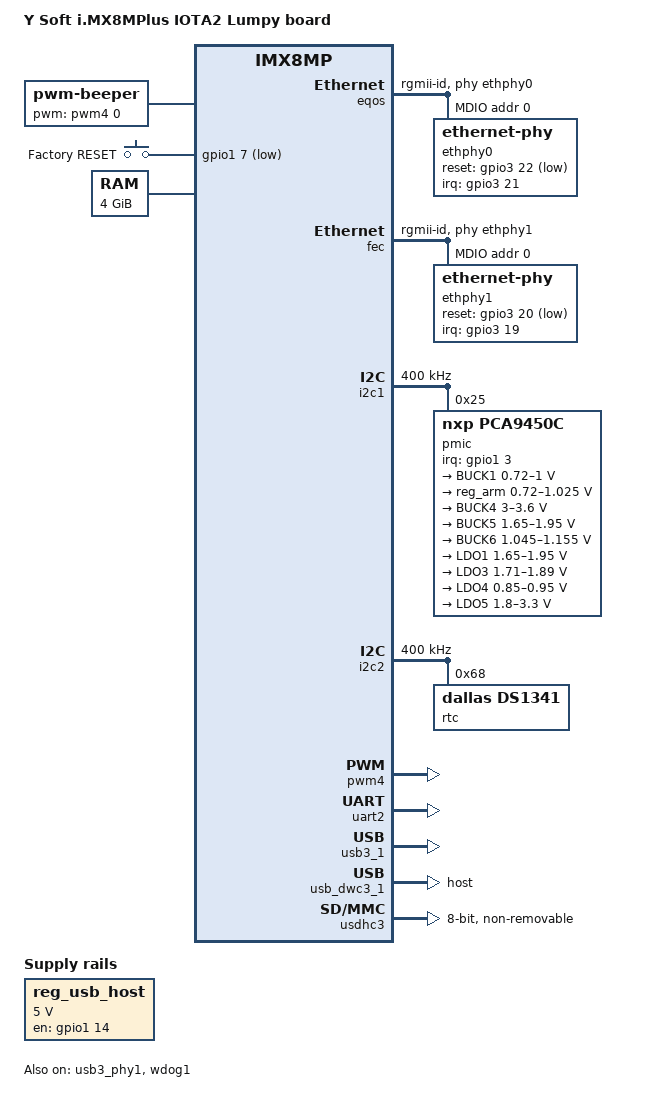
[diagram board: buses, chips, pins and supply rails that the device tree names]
// SPDX-License-Identifier: (GPL-2.0+ OR MIT)
/*
 * Copyright 2023 Y Soft
 */

/dts-v1/;

#include "imx8mp.dtsi"

/ {
	model = "Y Soft i.MX8MPlus IOTA2 Lumpy board";
	compatible = "ysoft,imx8mp-iota2-lumpy", "fsl,imx8mp";

	chosen {
		stdout-path = &uart2;
	};

	beeper {
		compatible = "pwm-beeper";
		pwms = <&pwm4 0 500000 0>;
	};

	gpio_keys: gpio-keys {
		compatible = "gpio-keys";
		pinctrl-names = "default";
		pinctrl-0 = <&pinctrl_gpio_keys>;

		button-reset {
			label = "Factory RESET";
			linux,code = <BTN_0>;
			gpios = <&gpio1 7 GPIO_ACTIVE_LOW>;
		};
	};

	memory@40000000 {
		device_type = "memory";
		reg = <0x0 0x40000000 0 0x80000000>,
		      <0x1 0x00000000 0 0x80000000>;
	};

	reg_usb_host: regulator-usb-host {
		compatible = "regulator-fixed";
		enable-active-high;
		gpio = <&gpio1 14 GPIO_ACTIVE_HIGH>;
		pinctrl-names = "default";
		pinctrl-0 = <&pinctrl_usb_host_vbus>;
		regulator-max-microvolt = <5000000>;
		regulator-min-microvolt = <5000000>;
		regulator-name = "usb-host";
	};
};

&A53_0 {
	cpu-supply = <&reg_arm>;
};

&A53_1 {
	cpu-supply = <&reg_arm>;
};

&A53_2 {
	cpu-supply = <&reg_arm>;
};

&A53_3 {
	cpu-supply = <&reg_arm>;
};

&eqos {
	pinctrl-names = "default";
	pinctrl-0 = <&pinctrl_eqos>;
	phy-mode = "rgmii-id";
	phy-handle = <&ethphy0>;
	status = "okay";

	mdio {
		compatible = "snps,dwmac-mdio";
		#address-cells = <1>;
		#size-cells = <0>;

		ethphy0: ethernet-phy@0 {
			pinctrl-0 = <&pinctrl_ethphy0>;
			pinctrl-names = "default";
			reg = <0>;
			interrupt-parent = <&gpio3>;
			interrupts = <21 IRQ_TYPE_LEVEL_LOW>;
			micrel,led-mode = <0>;
			reset-gpios = <&gpio3 22 GPIO_ACTIVE_LOW>;
			reset-assert-us = <1000>;
			reset-deassert-us = <1000>;
		};
	};
};

&fec {
	pinctrl-names = "default";
	pinctrl-0 = <&pinctrl_fec>;
	phy-mode = "rgmii-id";
	phy-handle = <&ethphy1>;
	fsl,magic-packet;
	status = "okay";

	mdio {
		#address-cells = <1>;
		#size-cells = <0>;

		ethphy1: ethernet-phy@0 {
			pinctrl-0 = <&pinctrl_ethphy1>;
			pinctrl-names = "default";
			reg = <0>;
			interrupt-parent = <&gpio3>;
			interrupts = <19 IRQ_TYPE_LEVEL_LOW>;
			micrel,led-mode = <0>;
			reset-gpios = <&gpio3 20 GPIO_ACTIVE_LOW>;
			reset-assert-us = <1000>;
			reset-deassert-us = <1000>;
		};
	};
};

&i2c1 {
	clock-frequency = <400000>;
	pinctrl-names = "default";
	pinctrl-0 = <&pinctrl_i2c1>;
	status = "okay";

	pmic@25 {
		compatible = "nxp,pca9450c";
		reg = <0x25>;
		pinctrl-names = "default";
		pinctrl-0 = <&pinctrl_pmic>;
		interrupt-parent = <&gpio1>;
		interrupts = <3 IRQ_TYPE_LEVEL_LOW>;

		regulators {
			BUCK1 {
				regulator-name = "BUCK1";
				regulator-min-microvolt = <720000>;
				regulator-max-microvolt = <1000000>;
				regulator-boot-on;
				regulator-always-on;
				regulator-ramp-delay = <3125>;
			};

			reg_arm: BUCK2 {
				regulator-name = "BUCK2";
				regulator-min-microvolt = <720000>;
				regulator-max-microvolt = <1025000>;
				regulator-boot-on;
				regulator-always-on;
				regulator-ramp-delay = <3125>;
				nxp,dvs-run-voltage = <950000>;
				nxp,dvs-standby-voltage = <850000>;
			};

			BUCK4 {
				regulator-name = "BUCK4";
				regulator-min-microvolt = <3000000>;
				regulator-max-microvolt = <3600000>;
				regulator-boot-on;
				regulator-always-on;
			};

			BUCK5 {
				regulator-name = "BUCK5";
				regulator-min-microvolt = <1650000>;
				regulator-max-microvolt = <1950000>;
				regulator-boot-on;
				regulator-always-on;
			};

			BUCK6 {
				regulator-name = "BUCK6";
				regulator-min-microvolt = <1045000>;
				regulator-max-microvolt = <1155000>;
				regulator-boot-on;
				regulator-always-on;
			};

			LDO1 {
				regulator-name = "LDO1";
				regulator-min-microvolt = <1650000>;
				regulator-max-microvolt = <1950000>;
				regulator-boot-on;
				regulator-always-on;
			};

			LDO3 {
				regulator-name = "LDO3";
				regulator-min-microvolt = <1710000>;
				regulator-max-microvolt = <1890000>;
				regulator-boot-on;
				regulator-always-on;
			};

			LDO4 {
				regulator-name = "LDO4";
				regulator-min-microvolt = <850000>;
				regulator-max-microvolt = <950000>;
				regulator-boot-on;
				regulator-always-on;
			};

			LDO5 {
				regulator-name = "LDO5";
				regulator-min-microvolt = <1800000>;
				regulator-max-microvolt = <3300000>;
				regulator-boot-on;
				regulator-always-on;
			};
		};
	};
};

&i2c2 {
	clock-frequency = <400000>;
	pinctrl-names = "default";
	pinctrl-0 = <&pinctrl_i2c2>;
	status = "okay";

	rtc: rtc@68 {
		compatible = "dallas,ds1341";
		reg = <0x68>;
	};
};

&pwm4 {
	pinctrl-names = "default";
	pinctrl-0 = <&pinctrl_pwm4>;
	pwm-gpios = <&gpio5 2 GPIO_ACTIVE_HIGH>;
	status = "okay";
};

&uart2 {
	pinctrl-names = "default";
	pinctrl-0 = <&pinctrl_uart2>;
	status = "okay";
};

&usb3_phy1 {
	vbus-supply = <&reg_usb_host>;
	status = "okay";
};

&usb3_1 {
	status = "okay";
};

&usb_dwc3_1 {
	pinctrl-names = "default";
	dr_mode = "host";
	status = "okay";
};

&usdhc3 {
	assigned-clocks = <&clk IMX8MP_CLK_USDHC3>;
	assigned-clock-rates = <400000000>;
	pinctrl-names = "default", "state_100mhz", "state_200mhz";
	pinctrl-0 = <&pinctrl_usdhc3>;
	pinctrl-1 = <&pinctrl_usdhc3_100mhz>;
	pinctrl-2 = <&pinctrl_usdhc3_200mhz>;
	bus-width = <8>;
	non-removable;
	status = "okay";
};

&wdog1 {
	pinctrl-names = "default";
	pinctrl-0 = <&pinctrl_wdog>;
	fsl,ext-reset-output;
	status = "okay";
};

&iomuxc {
	pinctrl_eqos: eqosgrp {
		fsl,pins = <
			MX8MP_IOMUXC_ENET_MDC__ENET_QOS_MDC		0x2
			MX8MP_IOMUXC_ENET_MDIO__ENET_QOS_MDIO		0x2
			MX8MP_IOMUXC_ENET_RD0__ENET_QOS_RGMII_RD0	0x90
			MX8MP_IOMUXC_ENET_RD1__ENET_QOS_RGMII_RD1	0x90
			MX8MP_IOMUXC_ENET_RD2__ENET_QOS_RGMII_RD2	0x90
			MX8MP_IOMUXC_ENET_RD3__ENET_QOS_RGMII_RD3	0x90
			MX8MP_IOMUXC_ENET_RX_CTL__ENET_QOS_RGMII_RX_CTL	0x90
			MX8MP_IOMUXC_ENET_RXC__CCM_ENET_QOS_CLOCK_GENERATE_RX_CLK	0x90
			MX8MP_IOMUXC_ENET_TD0__ENET_QOS_RGMII_TD0	0x16
			MX8MP_IOMUXC_ENET_TD1__ENET_QOS_RGMII_TD1	0x16
			MX8MP_IOMUXC_ENET_TD2__ENET_QOS_RGMII_TD2	0x16
			MX8MP_IOMUXC_ENET_TD3__ENET_QOS_RGMII_TD3	0x16
			MX8MP_IOMUXC_ENET_TX_CTL__ENET_QOS_RGMII_TX_CTL	0x16
			MX8MP_IOMUXC_ENET_TXC__CCM_ENET_QOS_CLOCK_GENERATE_TX_CLK	0x16
		>;
	};

	pinctrl_ethphy0: ethphy0grp {
		fsl,pins = <
			MX8MP_IOMUXC_SAI5_RXD0__GPIO3_IO21		0x10
			MX8MP_IOMUXC_SAI5_RXD1__GPIO3_IO22		0x10
		>;
	};

	pinctrl_ethphy1: ethphy1grp {
		fsl,pins = <
			MX8MP_IOMUXC_SAI5_RXFS__GPIO3_IO19		0x10
			MX8MP_IOMUXC_SAI5_RXC__GPIO3_IO20		0x10
		>;
	};

	pinctrl_fec: fecgrp {
		fsl,pins = <
			MX8MP_IOMUXC_SAI1_RXD2__ENET1_MDC		0x2
			MX8MP_IOMUXC_SAI1_RXD3__ENET1_MDIO		0x2
			MX8MP_IOMUXC_SAI1_RXD4__ENET1_RGMII_RD0		0x90
			MX8MP_IOMUXC_SAI1_RXD5__ENET1_RGMII_RD1		0x90
			MX8MP_IOMUXC_SAI1_RXD6__ENET1_RGMII_RD2		0x90
			MX8MP_IOMUXC_SAI1_RXD7__ENET1_RGMII_RD3		0x90
			MX8MP_IOMUXC_SAI1_TXC__ENET1_RGMII_RXC		0x90
			MX8MP_IOMUXC_SAI1_TXFS__ENET1_RGMII_RX_CTL	0x90
			MX8MP_IOMUXC_SAI1_TXD0__ENET1_RGMII_TD0		0x16
			MX8MP_IOMUXC_SAI1_TXD1__ENET1_RGMII_TD1		0x16
			MX8MP_IOMUXC_SAI1_TXD2__ENET1_RGMII_TD2		0x16
			MX8MP_IOMUXC_SAI1_TXD3__ENET1_RGMII_TD3		0x16
			MX8MP_IOMUXC_SAI1_TXD4__ENET1_RGMII_TX_CTL	0x16
			MX8MP_IOMUXC_SAI1_TXD5__ENET1_RGMII_TXC		0x16
		>;
	};

	pinctrl_gpio_keys: gpiokeysgrp {
		fsl,pins = <
			MX8MP_IOMUXC_GPIO1_IO07__GPIO1_IO07	0x80
		>;
	};

	pinctrl_i2c1: i2c1grp {
		fsl,pins = <
			MX8MP_IOMUXC_I2C1_SCL__I2C1_SCL		0x400001c2
			MX8MP_IOMUXC_I2C1_SDA__I2C1_SDA		0x400001c2
		>;
	};

	pinctrl_i2c2: i2c2grp {
		fsl,pins = <
			MX8MP_IOMUXC_I2C2_SCL__I2C2_SCL		0x400001c2
			MX8MP_IOMUXC_I2C2_SDA__I2C2_SDA		0x400001c2
		>;
	};

	pinctrl_pmic: pmicgrp {
		fsl,pins = <
			MX8MP_IOMUXC_GPIO1_IO03__GPIO1_IO03	0x1c0
		>;
	};

	pinctrl_pwm4: pwm4grp {
		fsl,pins = <
			MX8MP_IOMUXC_SAI3_MCLK__PWM4_OUT	0x102
		>;
	};

	pinctrl_uart2: uart2grp {
		fsl,pins = <
			MX8MP_IOMUXC_UART2_RXD__UART2_DCE_RX	0x0
			MX8MP_IOMUXC_UART2_TXD__UART2_DCE_TX	0x0
		>;
	};

	pinctrl_usb_host_vbus: usb1grp {
		fsl,pins = <
			MX8MP_IOMUXC_GPIO1_IO14__USB2_OTG_PWR	0x0
		>;
	};

	pinctrl_usdhc3: usdhc3grp {
		fsl,pins = <
			MX8MP_IOMUXC_NAND_WE_B__USDHC3_CLK	0x190
			MX8MP_IOMUXC_NAND_WP_B__USDHC3_CMD	0x1d0
			MX8MP_IOMUXC_NAND_DATA04__USDHC3_DATA0	0x1d0
			MX8MP_IOMUXC_NAND_DATA05__USDHC3_DATA1	0x1d0
			MX8MP_IOMUXC_NAND_DATA06__USDHC3_DATA2	0x1d0
			MX8MP_IOMUXC_NAND_DATA07__USDHC3_DATA3	0x1d0
			MX8MP_IOMUXC_NAND_RE_B__USDHC3_DATA4	0x1d0
			MX8MP_IOMUXC_NAND_CE2_B__USDHC3_DATA5	0x1d0
			MX8MP_IOMUXC_NAND_CE3_B__USDHC3_DATA6	0x1d0
			MX8MP_IOMUXC_NAND_CLE__USDHC3_DATA7	0x1d0
			MX8MP_IOMUXC_NAND_CE1_B__USDHC3_STROBE	0x190
		>;
	};

	pinctrl_usdhc3_100mhz: usdhc3-100mhzgrp {
		fsl,pins = <
			MX8MP_IOMUXC_NAND_WE_B__USDHC3_CLK	0x194
			MX8MP_IOMUXC_NAND_WP_B__USDHC3_CMD	0x1d4
			MX8MP_IOMUXC_NAND_DATA04__USDHC3_DATA0	0x1d4
			MX8MP_IOMUXC_NAND_DATA05__USDHC3_DATA1	0x1d4
			MX8MP_IOMUXC_NAND_DATA06__USDHC3_DATA2	0x1d4
			MX8MP_IOMUXC_NAND_DATA07__USDHC3_DATA3	0x1d4
			MX8MP_IOMUXC_NAND_RE_B__USDHC3_DATA4	0x1d4
			MX8MP_IOMUXC_NAND_CE2_B__USDHC3_DATA5	0x1d4
			MX8MP_IOMUXC_NAND_CE3_B__USDHC3_DATA6	0x1d4
			MX8MP_IOMUXC_NAND_CLE__USDHC3_DATA7	0x1d4
			MX8MP_IOMUXC_NAND_CE1_B__USDHC3_STROBE	0x194
		>;
	};

	pinctrl_usdhc3_200mhz: usdhc3-200mhzgrp {
		fsl,pins = <
			MX8MP_IOMUXC_NAND_WE_B__USDHC3_CLK	0x196
			MX8MP_IOMUXC_NAND_WP_B__USDHC3_CMD	0x1d6
			MX8MP_IOMUXC_NAND_DATA04__USDHC3_DATA0	0x1d6
			MX8MP_IOMUXC_NAND_DATA05__USDHC3_DATA1	0x1d6
			MX8MP_IOMUXC_NAND_DATA06__USDHC3_DATA2	0x1d6
			MX8MP_IOMUXC_NAND_DATA07__USDHC3_DATA3	0x1d6
			MX8MP_IOMUXC_NAND_RE_B__USDHC3_DATA4	0x1d6
			MX8MP_IOMUXC_NAND_CE2_B__USDHC3_DATA5	0x1d6
			MX8MP_IOMUXC_NAND_CE3_B__USDHC3_DATA6	0x1d6
			MX8MP_IOMUXC_NAND_CLE__USDHC3_DATA7	0x1d6
			MX8MP_IOMUXC_NAND_CE1_B__USDHC3_STROBE	0x196
		>;
	};

	pinctrl_wdog: wdoggrp {
		fsl,pins = <
			MX8MP_IOMUXC_GPIO1_IO02__WDOG1_WDOG_B	0x166
		>;
	};
};
